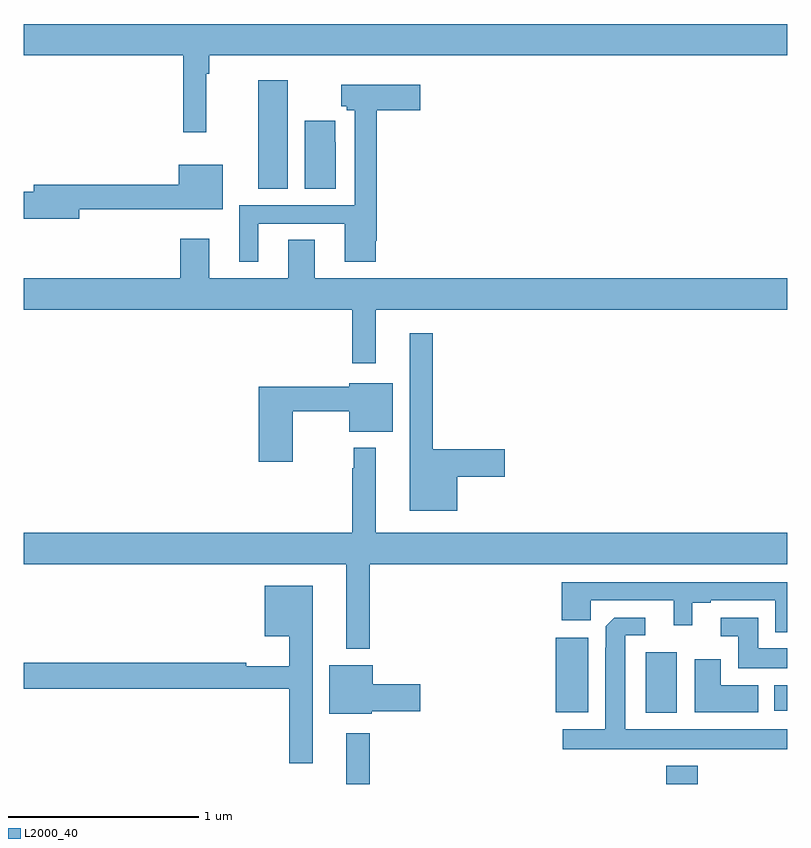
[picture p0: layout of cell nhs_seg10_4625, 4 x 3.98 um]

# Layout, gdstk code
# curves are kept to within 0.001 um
import gdstk
lib = gdstk.Library(unit=1e-6, precision=1e-09)
def R(c, l, rs):  # rectangles x0, y0, x1, y1
    for r in rs: c.add(gdstk.rectangle(r[:2], r[2:], *l))
def P(c, l, *ps):  # polygons
    for p in ps: c.add(gdstk.Polygon(p, *l))
L2000_40 = (2000, 40)

nhs_seg10_4625 = lib.new_cell('nhs_seg10_4625')
R(nhs_seg10_4625, L2000_40, [(376.691,1296.5,376.813,1296.766), (378.365,1296.5,378.53,1296.595), (378.257,1296.872,378.421,1297.189), (377.786,1296.875,377.956,1297.267), (378.932,1296.884,379,1297.018), (376.229,1299.616,376.384,1300.186)])
P(nhs_seg10_4625, L2000_40, [(375.956,1300.22),(375.971,1300.22),(375.971,1300.316),(379,1300.316),(379,1300.48),(375,1300.48),(375,1300.316),(375.835,1300.316),(375.835,1299.912),(375.956,1299.912)],
  [(376.228,1299.435),(376.682,1299.435),(376.682,1299.234),(376.844,1299.234),(376.844,1299.346),(376.85,1299.346),(376.85,1300.028),(377.077,1300.028),(377.077,1300.162),(376.663,1300.162),(376.663,1300.048),(376.692,1300.048),(376.692,1300.028),(376.734,1300.028),(376.734,1299.531),(376.13,1299.531),(376.13,1299.234),(376.228,1299.234)],
  [(376.636,1299.86),(376.633,1299.86),(376.633,1299.973),(376.472,1299.973),(376.472,1299.616),(376.636,1299.616)],
  [(375.292,1299.51),(375.716,1299.51),(375.716,1299.509),(376.042,1299.509),(376.042,1299.742),(375.812,1299.742),(375.812,1299.638),(375.053,1299.638),(375.053,1299.602),(375,1299.602),(375,1299.46),(375.292,1299.46)],
  [(376.843,1298.984),(379,1298.984),(379,1299.148),(376.525,1299.148),(376.525,1299.35),(376.385,1299.35),(376.385,1299.148),(375.973,1299.148),(375.973,1299.355),(375.821,1299.355),(375.821,1299.148),(375,1299.148),(375,1298.984),(376.722,1298.984),(376.722,1298.703),(376.843,1298.703)],
  [(377.272,1298.11),(377.521,1298.11),(377.521,1298.252),(377.143,1298.252),(377.143,1298.86),(377.021,1298.86),(377.021,1297.931),(377.272,1297.931)],
  [(376.41,1298.452),(376.706,1298.452),(376.706,1298.345),(376.933,1298.345),(376.933,1298.599),(376.706,1298.599),(376.706,1298.581),(376.232,1298.581),(376.232,1298.187),(376.41,1298.187)],
  [(376.813,1297.652),(379,1297.652),(379,1297.816),(376.843,1297.816),(376.843,1298.26),(376.729,1298.26),(376.729,1298.153),(376.722,1298.153),(376.722,1297.816),(375,1297.816),(375,1297.652),(376.691,1297.652),(376.691,1297.208),(376.813,1297.208)],
  [(379,1297.557),(377.819,1297.557),(377.819,1297.358),(377.97,1297.358),(377.97,1297.461),(378.404,1297.461),(378.404,1297.332),(378.502,1297.332),(378.502,1297.449),(378.598,1297.449),(378.598,1297.461),(378.936,1297.461),(378.936,1297.295),(379,1297.295)],
  [(376.513,1297.537),(376.262,1297.537),(376.262,1297.274),(376.392,1297.274),(376.392,1297.117),(376.166,1297.117),(376.166,1297.136),(375,1297.136),(375,1297),(376.392,1297),(376.392,1296.609),(376.513,1296.609)],
  [(379,1296.787),(378.151,1296.787),(378.151,1297.278),(378.256,1297.278),(378.256,1297.371),(378.094,1297.371),(378.048,1297.325),(378.047,1296.787),(377.823,1296.787),(377.823,1296.683),(379,1296.683)],
  [(379,1297.21),(378.847,1297.21),(378.847,1297.371),(378.651,1297.371),(378.651,1297.275),(378.743,1297.275),(378.743,1297.106),(379,1297.106)],
  [(378.847,1297.018),(378.652,1297.018),(378.652,1297.153),(378.515,1297.153),(378.515,1296.875),(378.847,1296.875)],
  [(376.824,1296.88),(377.077,1296.88),(377.077,1297.022),(376.828,1297.022),(376.828,1297.123),(376.601,1297.123),(376.601,1296.869),(376.824,1296.869)])

lib.write_gds('nhs_seg10_4625.gds')
